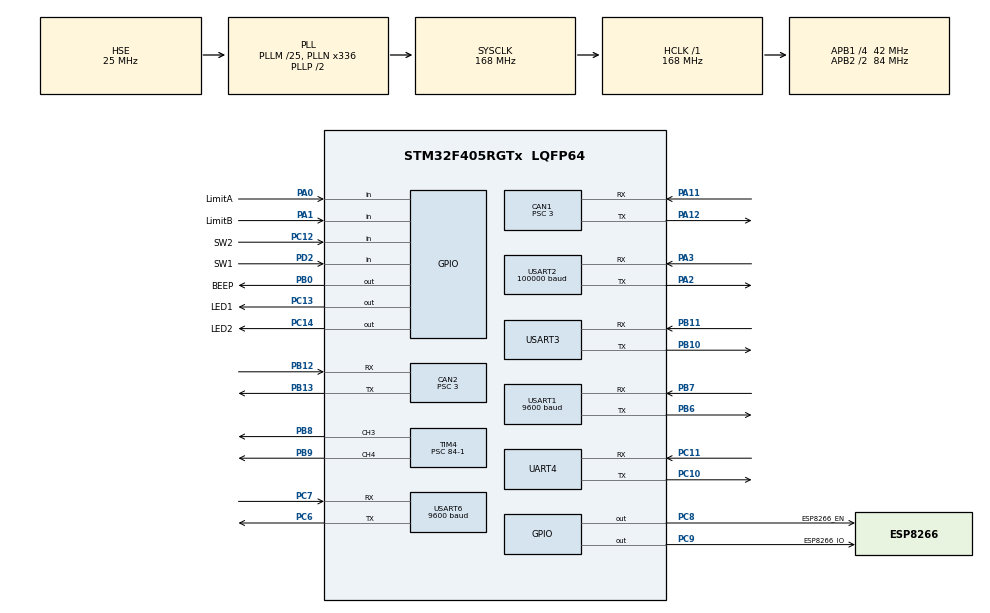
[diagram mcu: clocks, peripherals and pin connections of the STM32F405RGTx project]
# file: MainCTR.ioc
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CAN1.BS1=CAN_BS1_9TQ
CAN1.BS2=CAN_BS2_4TQ
CAN1.CalculateTimeBit=1000
CAN1.CalculateTimeQuantum=71.42857142857143
CAN1.Prescaler=3
CAN2.BS1=CAN_BS1_9TQ
CAN2.BS2=CAN_BS2_4TQ
CAN2.CalculateTimeBit=1000
CAN2.CalculateTimeQuantum=71.42857142857143
CAN2.Prescaler=3
Dma.Request0=USART2_RX
Dma.Request1=USART2_TX
Dma.Request2=USART6_RX
Dma.Request3=USART6_TX
Dma.Request4=USART1_RX
Dma.Request5=USART1_TX
Dma.Request6=UART4_RX
Dma.Request7=UART4_TX
Dma.Request8=USART3_RX
Dma.Request9=USART3_TX
Dma.UART4_RX.6.Direction=DMA_PERIPH_TO_MEMORY
Dma.UART4_RX.6.FIFOMode=DMA_FIFOMODE_DISABLE
Dma.UART4_RX.6.Instance=DMA1_Stream2
Dma.UART4_RX.6.MemDataAlignment=DMA_MDATAALIGN_BYTE
Dma.UART4_RX.6.MemInc=DMA_MINC_ENABLE
Dma.UART4_RX.6.Mode=DMA_NORMAL
Dma.UART4_RX.6.PeriphDataAlignment=DMA_PDATAALIGN_BYTE
Dma.UART4_RX.6.PeriphInc=DMA_PINC_DISABLE
Dma.UART4_RX.6.Priority=DMA_PRIORITY_LOW
Dma.UART4_TX.7.Direction=DMA_MEMORY_TO_PERIPH
Dma.UART4_TX.7.FIFOMode=DMA_FIFOMODE_DISABLE
Dma.UART4_TX.7.Instance=DMA1_Stream4
Dma.UART4_TX.7.MemDataAlignment=DMA_MDATAALIGN_BYTE
Dma.UART4_TX.7.MemInc=DMA_MINC_ENABLE
Dma.UART4_TX.7.Mode=DMA_NORMAL
Dma.UART4_TX.7.PeriphDataAlignment=DMA_PDATAALIGN_BYTE
Dma.UART4_TX.7.PeriphInc=DMA_PINC_DISABLE
Dma.UART4_TX.7.Priority=DMA_PRIORITY_LOW
Dma.USART1_RX.4.Direction=DMA_PERIPH_TO_MEMORY
Dma.USART1_RX.4.FIFOMode=DMA_FIFOMODE_DISABLE
Dma.USART1_RX.4.Instance=DMA2_Stream2
Dma.USART1_RX.4.MemDataAlignment=DMA_MDATAALIGN_BYTE
Dma.USART1_RX.4.MemInc=DMA_MINC_ENABLE
Dma.USART1_RX.4.Mode=DMA_NORMAL
Dma.USART1_RX.4.PeriphDataAlignment=DMA_PDATAALIGN_BYTE
Dma.USART1_RX.4.PeriphInc=DMA_PINC_DISABLE
Dma.USART1_RX.4.Priority=DMA_PRIORITY_LOW
Dma.USART1_TX.5.Direction=DMA_MEMORY_TO_PERIPH
Dma.USART1_TX.5.FIFOMode=DMA_FIFOMODE_DISABLE
Dma.USART1_TX.5.Instance=DMA2_Stream7
Dma.USART1_TX.5.MemDataAlignment=DMA_MDATAALIGN_BYTE
Dma.USART1_TX.5.MemInc=DMA_MINC_ENABLE
Dma.USART1_TX.5.Mode=DMA_NORMAL
Dma.USART1_TX.5.PeriphDataAlignment=DMA_PDATAALIGN_BYTE
Dma.USART1_TX.5.PeriphInc=DMA_PINC_DISABLE
Dma.USART1_TX.5.Priority=DMA_PRIORITY_LOW
Dma.USART2_RX.0.Direction=DMA_PERIPH_TO_MEMORY
Dma.USART2_RX.0.FIFOMode=DMA_FIFOMODE_DISABLE
Dma.USART2_RX.0.Instance=DMA1_Stream5
Dma.USART2_RX.0.MemDataAlignment=DMA_MDATAALIGN_BYTE
Dma.USART2_RX.0.MemInc=DMA_MINC_ENABLE
Dma.USART2_RX.0.Mode=DMA_NORMAL
Dma.USART2_RX.0.PeriphDataAlignment=DMA_PDATAALIGN_BYTE
Dma.USART2_RX.0.PeriphInc=DMA_PINC_DISABLE
Dma.USART2_RX.0.Priority=DMA_PRIORITY_LOW
Dma.USART2_TX.1.Direction=DMA_MEMORY_TO_PERIPH
Dma.USART2_TX.1.FIFOMode=DMA_FIFOMODE_DISABLE
Dma.USART2_TX.1.Instance=DMA1_Stream6
Dma.USART2_TX.1.MemDataAlignment=DMA_MDATAALIGN_BYTE
Dma.USART2_TX.1.MemInc=DMA_MINC_ENABLE
Dma.USART2_TX.1.Mode=DMA_NORMAL
Dma.USART2_TX.1.PeriphDataAlignment=DMA_PDATAALIGN_BYTE
Dma.USART2_TX.1.PeriphInc=DMA_PINC_DISABLE
Dma.USART2_TX.1.Priority=DMA_PRIORITY_LOW
Dma.USART3_RX.8.Direction=DMA_PERIPH_TO_MEMORY
Dma.USART3_RX.8.FIFOMode=DMA_FIFOMODE_DISABLE
Dma.USART3_RX.8.Instance=DMA1_Stream1
Dma.USART3_RX.8.MemDataAlignment=DMA_MDATAALIGN_BYTE
Dma.USART3_RX.8.MemInc=DMA_MINC_ENABLE
Dma.USART3_RX.8.Mode=DMA_NORMAL
Dma.USART3_RX.8.PeriphDataAlignment=DMA_PDATAALIGN_BYTE
Dma.USART3_RX.8.PeriphInc=DMA_PINC_DISABLE
Dma.USART3_RX.8.Priority=DMA_PRIORITY_LOW
Dma.USART3_TX.9.Direction=DMA_MEMORY_TO_PERIPH
Dma.USART3_TX.9.FIFOMode=DMA_FIFOMODE_DISABLE
Dma.USART3_TX.9.Instance=DMA1_Stream3
Dma.USART3_TX.9.MemDataAlignment=DMA_MDATAALIGN_BYTE
Dma.USART3_TX.9.MemInc=DMA_MINC_ENABLE
Dma.USART3_TX.9.Mode=DMA_NORMAL
Dma.USART3_TX.9.PeriphDataAlignment=DMA_PDATAALIGN_BYTE
Dma.USART3_TX.9.PeriphInc=DMA_PINC_DISABLE
Dma.USART3_TX.9.Priority=DMA_PRIORITY_LOW
Dma.USART6_RX.2.Direction=DMA_PERIPH_TO_MEMORY
Dma.USART6_RX.2.FIFOMode=DMA_FIFOMODE_DISABLE
Dma.USART6_RX.2.Instance=DMA2_Stream1
Dma.USART6_RX.2.MemDataAlignment=DMA_MDATAALIGN_BYTE
Dma.USART6_RX.2.MemInc=DMA_MINC_ENABLE
Dma.USART6_RX.2.Mode=DMA_NORMAL
Dma.USART6_RX.2.PeriphDataAlignment=DMA_PDATAALIGN_BYTE
Dma.USART6_RX.2.PeriphInc=DMA_PINC_DISABLE
Dma.USART6_RX.2.Priority=DMA_PRIORITY_LOW
Dma.USART6_TX.3.Direction=DMA_MEMORY_TO_PERIPH
Dma.USART6_TX.3.FIFOMode=DMA_FIFOMODE_DISABLE
Dma.USART6_TX.3.Instance=DMA2_Stream6
Dma.USART6_TX.3.MemDataAlignment=DMA_MDATAALIGN_BYTE
Dma.USART6_TX.3.MemInc=DMA_MINC_ENABLE
Dma.USART6_TX.3.Mode=DMA_NORMAL
Dma.USART6_TX.3.PeriphDataAlignment=DMA_PDATAALIGN_BYTE
Dma.USART6_TX.3.PeriphInc=DMA_PINC_DISABLE
Dma.USART6_TX.3.Priority=DMA_PRIORITY_LOW
FREERTOS.INCLUDE_eTaskGetState=1
FREERTOS.INCLUDE_uxTaskGetStackHighWaterMark=1
FREERTOS.INCLUDE_vTaskDelayUntil=1
FREERTOS.INCLUDE_xTaskGetCurrentTaskHandle=1
FREERTOS.Tasks01=defaultTask,0,128,StartDefaultTask,Default
FREERTOS.configGENERATE_RUN_TIME_STATS=1
FREERTOS.configTOTAL_HEAP_SIZE=30360
IWDG.Prescaler=IWDG_PRESCALER_32
IWDG.Reload=1000
Mcu.Family=STM32F4
Mcu.Name=STM32F405RGTx
Mcu.Package=LQFP64
NVIC.CAN1_RX0_IRQn=true\:5\:0\:false\:false\:true\:true
NVIC.CAN2_RX0_IRQn=true\:5\:0\:false\:false\:true\:true
NVIC.DMA1_Stream1_IRQn=true\:5\:0\:false\:false\:true\:true
NVIC.DMA1_Stream2_IRQn=true\:5\:0\:false\:false\:true\:true
NVIC.DMA1_Stream3_IRQn=true\:5\:0\:false\:false\:true\:true
NVIC.DMA1_Stream4_IRQn=true\:5\:0\:false\:false\:true\:true
NVIC.DMA1_Stream5_IRQn=true\:5\:0\:false\:false\:true\:true
NVIC.DMA1_Stream6_IRQn=true\:5\:0\:false\:false\:true\:true
NVIC.DMA2_Stream1_IRQn=true\:5\:0\:false\:false\:true\:true
NVIC.DMA2_Stream2_IRQn=true\:5\:0\:false\:false\:true\:true
NVIC.DMA2_Stream6_IRQn=true\:5\:0\:false\:false\:true\:true
NVIC.DMA2_Stream7_IRQn=true\:5\:0\:false\:false\:true\:true
NVIC.PriorityGroup=NVIC_PRIORITYGROUP_4
NVIC.TIM6_DAC_IRQn=true\:5\:0\:false\:false\:true\:true
NVIC.UART4_IRQn=true\:5\:0\:false\:false\:true\:true
NVIC.USART1_IRQn=true\:5\:0\:false\:false\:true\:true
NVIC.USART2_IRQn=true\:5\:0\:false\:false\:true\:true
NVIC.USART3_IRQn=true\:5\:0\:false\:false\:true\:true
NVIC.USART6_IRQn=true\:5\:0\:false\:false\:true\:true
PA0-WKUP.GPIO_Label=LimitA
PA0-WKUP.Signal=GPIO_Input
PA1.GPIO_Label=LimitB
PA1.Signal=GPIO_Input
PA11.Mode=Master
PA11.Signal=CAN1_RX
PA12.Mode=Master
PA12.Signal=CAN1_TX
PA2.Mode=Asynchronous
PA2.Signal=USART2_TX
PA3.Mode=Asynchronous
PA3.Signal=USART2_RX
PB0.GPIO_Label=BEEP
PB0.Signal=GPIO_Output
PB10.Mode=Asynchronous
PB10.Signal=USART3_TX
PB11.Mode=Asynchronous
PB11.Signal=USART3_RX
PB12.Mode=Slave
PB12.Signal=CAN2_RX
PB13.Mode=Slave
PB13.Signal=CAN2_TX
PB6.Mode=Asynchronous
PB6.Signal=USART1_TX
PB7.Mode=Asynchronous
PB7.Signal=USART1_RX
PB8.Signal=S_TIM4_CH3
PB9.Signal=S_TIM4_CH4
PC10.Mode=Asynchronous
PC10.Signal=UART4_TX
PC11.Mode=Asynchronous
PC11.Signal=UART4_RX
PC12.GPIO_Label=SW2
PC12.Signal=GPIO_Input
PC13-ANTI_TAMP.GPIO_Label=LED1
PC13-ANTI_TAMP.Signal=GPIO_Output
PC14-OSC32_IN.GPIO_Label=LED2
PC14-OSC32_IN.Signal=GPIO_Output
PC6.Mode=Asynchronous
PC6.Signal=USART6_TX
PC7.Mode=Asynchronous
PC7.Signal=USART6_RX
PC8.GPIO_Label=ESP8266_EN
PC8.Signal=GPIO_Output
PC9.GPIO_Label=ESP8266_IO
PC9.Signal=GPIO_Output
PD2.GPIO_Label=SW1
PD2.Signal=GPIO_Input
PH0-OSC_IN.Mode=HSE-External-Oscillator
PH0-OSC_IN.Signal=RCC_OSC_IN
PH1-OSC_OUT.Mode=HSE-External-Oscillator
PH1-OSC_OUT.Signal=RCC_OSC_OUT
ProjectManager.HeapSize=0x200
ProjectManager.StackSize=0x400
ProjectManager.TargetToolchain=MDK-ARM V5
RCC.48MHZClocksFreq_Value=84000000
RCC.AHBFreq_Value=168000000
RCC.APB1CLKDivider=RCC_HCLK_DIV4
RCC.APB1Freq_Value=42000000
RCC.APB1TimFreq_Value=84000000
RCC.APB2CLKDivider=RCC_HCLK_DIV2
RCC.APB2Freq_Value=84000000
RCC.APB2TimFreq_Value=168000000
RCC.CortexFreq_Value=168000000
RCC.HCLKFreq_Value=168000000
RCC.HSE_VALUE=25000000
RCC.HSI_VALUE=16000000
RCC.LSE_VALUE=32768
RCC.PLLM=25
RCC.PLLN=336
RCC.PLLSourceVirtual=RCC_PLLSOURCE_HSE
RCC.SYSCLKFreq_VALUE=168000000
RCC.SYSCLKSource=RCC_SYSCLKSOURCE_PLLCLK
RCC.VCOOutputFreq_Value=336000000
SH.S_TIM4_CH3.0=TIM4_CH3,PWM Generation3 CH3
SH.S_TIM4_CH4.0=TIM4_CH4,PWM Generation4 CH4
TIM4.Channel-PWM\ Generation3\ CH3=TIM_CHANNEL_3
TIM4.Channel-PWM\ Generation4\ CH4=TIM_CHANNEL_4
TIM4.Period=3333-1
TIM4.Prescaler=84-1
TIM4.Pulse-PWM\ Generation3\ CH3=3332/2
TIM4.Pulse-PWM\ Generation4\ CH4=3332/2
TIM6.Period=100-1
TIM6.Prescaler=840-1
UART4.VirtualMode=Asynchronous
USART1.BaudRate=9600
USART1.VirtualMode=VM_ASYNC
USART2.BaudRate=100000
USART2.VirtualMode=VM_ASYNC
USART3.VirtualMode=VM_ASYNC
USART6.BaudRate=9600
USART6.VirtualMode=VM_ASYNC
VP_FREERTOS_VS_ENABLE.Mode=Enabled
VP_IWDG_VS_IWDG.Mode=IWDG_Activate
VP_TIM6_VS_ClockSourceINT.Mode=Enable_Timer
board=MainCTR

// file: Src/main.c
/**
  ******************************************************************************
  * File Name          : main.c
  * Description        : Main program body
  ******************************************************************************
  *
  * Copyright (c) 2018 STMicroelectronics International N.V.
  * All rights reserved.
  *
  * Redistribution and use in source and binary forms, with or without
  * modification, are permitted, provided that the following conditions are met:
  *
  * 1. Redistribution of source code must retain the above copyright notice,
  *    this list of conditions and the following disclaimer.
  * 2. Redistributions in binary form must reproduce the above copyright notice,
  *    this list of conditions and the following disclaimer in the documentation
  *    and/or other materials provided with the distribution.
  * 3. Neither the name of STMicroelectronics nor the names of other
  *    contributors to this software may be used to endorse or promote products
  *    derived from this software without specific written permission.
  * 4. This software, including modifications and/or derivative works of this
  *    software, must execute solely and exclusively on microcontroller or
  *    microprocessor devices manufactured by or for STMicroelectronics.
  * 5. Redistribution and use of this software other than as permitted under
  *    this license is void and will automatically terminate your rights under
  *    this license.
  *
  * THIS SOFTWARE IS PROVIDED BY STMICROELECTRONICS AND CONTRIBUTORS "AS IS"
  * AND ANY EXPRESS, IMPLIED OR STATUTORY WARRANTIES, INCLUDING, BUT NOT
  * LIMITED TO, THE IMPLIED WARRANTIES OF MERCHANTABILITY, FITNESS FOR A
  * PARTICULAR PURPOSE AND NON-INFRINGEMENT OF THIRD PARTY INTELLECTUAL PROPERTY
  * RIGHTS ARE DISCLAIMED TO THE FULLEST EXTENT PERMITTED BY LAW. IN NO EVENT
  * SHALL STMICROELECTRONICS OR CONTRIBUTORS BE LIABLE FOR ANY DIRECT, INDIRECT,
  * INCIDENTAL, SPECIAL, EXEMPLARY, OR CONSEQUENTIAL DAMAGES (INCLUDING, BUT NOT
  * LIMITED TO, PROCUREMENT OF SUBSTITUTE GOODS OR SERVICES; LOSS OF USE, DATA,
  * OR PROFITS; OR BUSINESS INTERRUPTION) HOWEVER CAUSED AND ON ANY THEORY OF
  * LIABILITY, WHETHER IN CONTRACT, STRICT LIABILITY, OR TORT (INCLUDING
  * NEGLIGENCE OR OTHERWISE) ARISING IN ANY WAY OUT OF THE USE OF THIS SOFTWARE,
  * EVEN IF ADVISED OF THE POSSIBILITY OF SUCH DAMAGE.
  *
  ******************************************************************************
  */
#include "main.h"
#include "stm32f4xx_hal.h"
#include "cmsis_os.h"
#include "can.h"
#include "dma.h"
#include "iwdg.h"
#include "tim.h"
#include "usart.h"
#include "gpio.h"

/* USER CODE BEGIN Includes */
#include "bsp_can.h"
#include "bsp_Uart.h"
#include "SystemState.h"
#include "bsp_motor.h"
/* USER CODE END Includes */

/* USER CODE BEGIN PV */
/* Private variables ---------------------------------------------------------*/

/* USER CODE END PV */

void SystemClock_Config(void);
void Error_Handler(void);
void MX_FREERTOS_Init(void);

/* USER CODE BEGIN PFP */
/* Private function prototypes -----------------------------------------------*/

/* USER CODE END PFP */

/* USER CODE BEGIN 0 */
void vLED_Task(void *pvParameters);
void vLED2_Task(void *pvParameters);
void vTest_Task(void *pvParameters);
void vCylinder_Task(void *pvParameters);
void vPN532_Task(void *pvParameters);
/* USER CODE END 0 */

int main(void)
{

  /* MCU Configuration----------------------------------------------------------*/

  /* Reset of all peripherals, Initializes the Flash interface and the Systick. */
  HAL_Init();

  /* Configure the system clock */
  SystemClock_Config();

  /* Initialize all configured peripherals */
  MX_GPIO_Init();
  MX_DMA_Init();
  MX_CAN1_Init();
  MX_CAN2_Init();
  MX_TIM4_Init();
  MX_TIM6_Init();
  MX_UART4_Init();
  MX_USART1_UART_Init();
  MX_USART2_UART_Init();
  MX_USART3_UART_Init();
  MX_USART6_UART_Init();
  //MX_IWDG_Init();

  /* USER CODE BEGIN 2 */
	if(!Motor_Inite_ALL())while(1);
	if(!Can_Inite())while(1);//Can通信初始化
	if(!UART_Inite())while(1);//串口初始化
	if(!SystemState_Inite())while(1);	//设备计时器初始化

	if(!xTaskCreate( vLED_Task, "LED_Task", 200, NULL, 1, NULL ))while(1);
	if(!xTaskCreate( vLED2_Task, "LED2_Task", 200, NULL, 1, NULL ))while(1);

	if(!xTaskCreate( vPN532_Task, "PN532_Task", 200, NULL, 1, NULL ))while(1);
	if(!xTaskCreate( vCylinder_Task, "Cylinder_Task", 200, NULL, 1, NULL ))while(1);

	xTaskCreate( vTest_Task, "Test_Task", 200, NULL, 1, NULL );

	printf("System Inite OK.....\r\n\r\n");
  /* USER CODE END 2 */

  /* Call init function for freertos objects (in freertos.c) */
  MX_FREERTOS_Init();

  /* Start scheduler */
  osKernelStart();

  /* We should never get here as control is now taken by the scheduler */

  /* Infinite loop */
  while (1)
  {

  }

}

/** System Clock Configuration
*/
void SystemClock_Config(void)
{

  RCC_OscInitTypeDef RCC_OscInitStruct;
  RCC_ClkInitTypeDef RCC_ClkInitStruct;

    /**Configure the main internal regulator output voltage
    */
  __HAL_RCC_PWR_CLK_ENABLE();

  __HAL_PWR_VOLTAGESCALING_CONFIG(PWR_REGULATOR_VOLTAGE_SCALE1);

    /**Initializes the CPU, AHB and APB busses clocks
    */
  RCC_OscInitStruct.OscillatorType = RCC_OSCILLATORTYPE_LSI|RCC_OSCILLATORTYPE_HSE;
  RCC_OscInitStruct.HSEState = RCC_HSE_ON;
  RCC_OscInitStruct.LSIState = RCC_LSI_ON;
  RCC_OscInitStruct.PLL.PLLState = RCC_PLL_ON;
  RCC_OscInitStruct.PLL.PLLSource = RCC_PLLSOURCE_HSE;
  RCC_OscInitStruct.PLL.PLLM = 25;
  RCC_OscInitStruct.PLL.PLLN = 336;
  RCC_OscInitStruct.PLL.PLLP = RCC_PLLP_DIV2;
  RCC_OscInitStruct.PLL.PLLQ = 4;
  if (HAL_RCC_OscConfig(&RCC_OscInitStruct) != HAL_OK)
  {
    Error_Handler();
  }

    /**Initializes the CPU, AHB and APB busses clocks
    */
  RCC_ClkInitStruct.ClockType = RCC_CLOCKTYPE_HCLK|RCC_CLOCKTYPE_SYSCLK
                              |RCC_CLOCKTYPE_PCLK1|RCC_CLOCKTYPE_PCLK2;
  RCC_ClkInitStruct.SYSCLKSource = RCC_SYSCLKSOURCE_PLLCLK;
  RCC_ClkInitStruct.AHBCLKDivider = RCC_SYSCLK_DIV1;
  RCC_ClkInitStruct.APB1CLKDivider = RCC_HCLK_DIV4;
  RCC_ClkInitStruct.APB2CLKDivider = RCC_HCLK_DIV2;

  if (HAL_RCC_ClockConfig(&RCC_ClkInitStruct, FLASH_LATENCY_5) != HAL_OK)
  {
    Error_Handler();
  }

    /**Configure the Systick interrupt time
    */
  HAL_SYSTICK_Config(HAL_RCC_GetHCLKFreq()/1000);

    /**Configure the Systick
    */
  HAL_SYSTICK_CLKSourceConfig(SYSTICK_CLKSOURCE_HCLK);

  /* SysTick_IRQn interrupt configuration */
  HAL_NVIC_SetPriority(SysTick_IRQn, 15, 0);
}

void Error_Handler(void)
{
  while(1)
  {
  }
}

/************************ (C) COPYRIGHT STMicroelectronics *****END OF FILE****/
